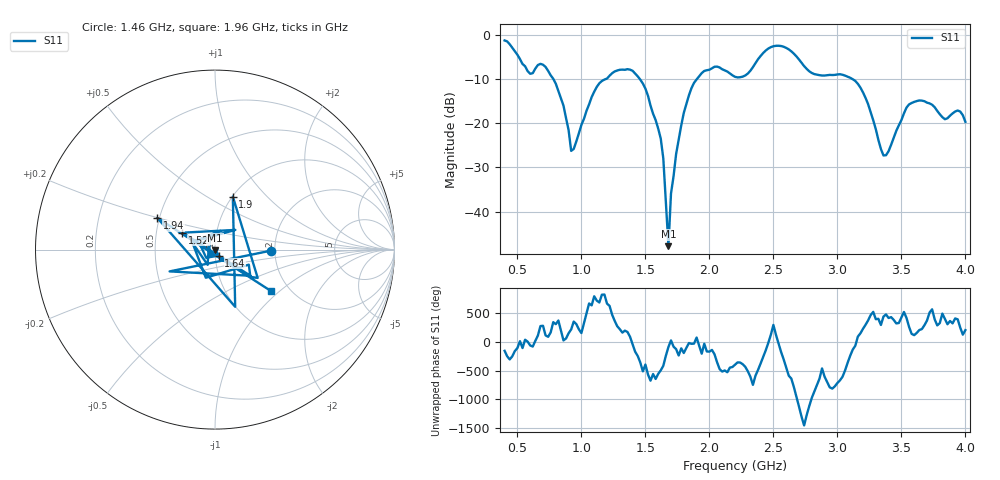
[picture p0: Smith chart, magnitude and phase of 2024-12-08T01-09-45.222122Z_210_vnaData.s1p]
!Created with skrf (http://scikit-rf.org).
# Hz S RI R 50.0
!freq ReS11 ImS11
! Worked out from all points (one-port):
!   181 points, 400 MHz to 4 GHz, reference 50 ohm
!   lowest |S11| = -47.8 dB at 1.68 GHz (marker M1), VSWR 1.01, Z = 50 - j0.407 ohm
!   |S11| at or under -10 dB: 780.6 MHz to 1.193 GHz (412.6 MHz wide, 41.8 % of centre); 1.455 GHz to 1.904 GHz (448.2 MHz wide, 26.7 % of centre); 3.115 GHz to end of sweep
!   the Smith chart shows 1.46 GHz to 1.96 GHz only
!   S11 on the Smith chart (normalised r, x): 1.46 GHz: 1.90, -0.03; 1.52 GHz: 0.68, +0.13; 1.64 GHz: 1.04, -0.07; 1.9 GHz: 1.01, +0.66; 1.94 GHz: 0.49, +0.20; 1.96 GHz: 1.61, -0.88
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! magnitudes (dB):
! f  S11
! 400 MHz  -1.3
! 600 MHz  -8.8
! 720 MHz  -7.3
! 860 MHz  -16.0
! 920 MHz  -26.3
! 1.12 GHz  -11.8
! 1.3 GHz  -7.9
! 1.46 GHz  -10.2
! 1.52 GHz  -13.8
! 1.62 GHz  -23.5
! 1.64 GHz  -28.0
! 1.68 GHz  -47.8
! 1.7 GHz  -35.9
! 1.76 GHz  -23.8
! 1.82 GHz  -15.6
! 1.9 GHz  -10.1
! 1.94 GHz  -8.7
! 1.96 GHz  -8.2
! 2.2 GHz  -9.5
! 2.48 GHz  -2.8
! 2.66 GHz  -4.3
! 2.82 GHz  -8.9
! 3.1 GHz  -9.7
! 3.22 GHz  -14.3
! 3.36 GHz  -27.3
! 3.56 GHz  -15.8
! 3.94 GHz  -17.1
! 4 GHz  -19.7
